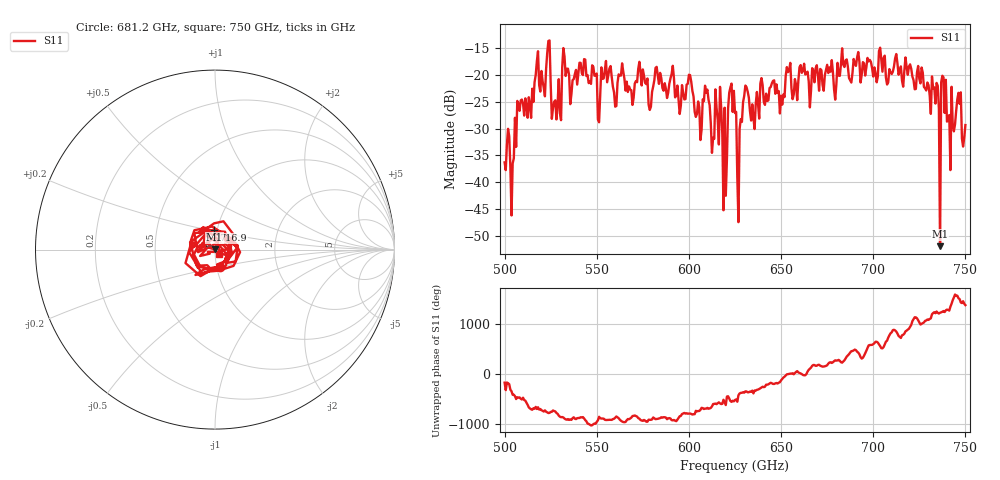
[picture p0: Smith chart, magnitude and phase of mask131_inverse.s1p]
!Created with skrf (http://scikit-rf.org).
# GHz S MA R 50.0
!freq magS11 angS11
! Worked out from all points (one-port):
!   401 points, 500 GHz to 750 GHz, reference 50 ohm
!   lowest |S11| = -52.0 dB at 736.2 GHz (marker M1), VSWR 1.01, Z = 49.8 + j0.107 ohm
!   |S11| at or under -10 dB: start of sweep to end of sweep
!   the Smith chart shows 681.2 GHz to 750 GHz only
!   S11 on the Smith chart (normalised r, x): 681.2 GHz: 1.04, -0.20; 716.9 GHz: 0.96, +0.21; 750 GHz: 1.04, -0.06
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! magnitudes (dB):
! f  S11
! 500 GHz  -36.3
! 503.8 GHz  -46.2
! 508.1 GHz  -26.7
! 517.5 GHz  -17.4
! 523.8 GHz  -13.6
! 526.9 GHz  -25.0
! 531.2 GHz  -18.5
! 562.5 GHz  -20.1
! 593.8 GHz  -21.9
! 610 GHz  -22.7
! 612.5 GHz  -34.5
! 616.2 GHz  -33.0
! 619.4 GHz  -26.1
! 622.5 GHz  -22.3
! 625 GHz  -27.1
! 627.5 GHz  -30.1
! 630.6 GHz  -21.9
! 634.4 GHz  -25.4
! 656.2 GHz  -24.5
! 681.2 GHz  -20.1
! 687.5 GHz  -21.0
! 716.9 GHz  -19.1
! 718.8 GHz  -19.9
! 736.2 GHz  -52.0
! 738.1 GHz  -20.4
! 740.6 GHz  -28.5
! 746.2 GHz  -23.3
! 750 GHz  -29.3
